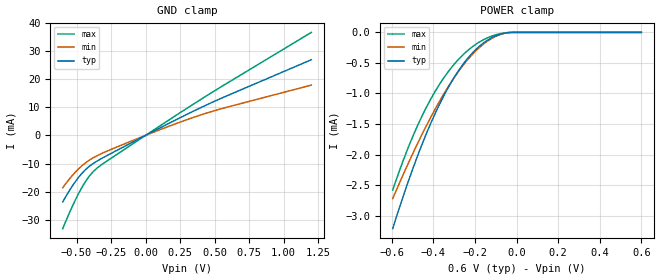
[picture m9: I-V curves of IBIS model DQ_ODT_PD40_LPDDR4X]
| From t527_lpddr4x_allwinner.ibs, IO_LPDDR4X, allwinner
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|   Model DQ_ODT_PD40_LPDDR4X
[Model] DQ_ODT_PD40_LPDDR4X
Model_type Input
Polarity   Non-Inverting
Enable   Active-High
Vinl =  0.300V
Vinh =  0.300V
C_comp   1.593pF   1.550pF   1.649pF
C_comp_power_clamp   56.576fF   56.568fF   56.600fF
C_comp_gnd_clamp   0.792pF   0.769pF   0.821pF
[Model Spec]
Vinh   0.300V   0.285V   0.325V
Vinl   0.300V   0.285V   0.325V
[Temperature Range]   25.000   0.125k   -40.000
[Voltage Range]   0.600V   0.570V   0.650V
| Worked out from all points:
|   GND clamp passes 1 mA (typ) near -0.04 V on its own axis
|   POWER clamp passes 1 mA (typ) near -0.34 V on its own axis
[GND_clamp]
|Voltage   I(typ)   I(min)   I(max)
-600mV    -23.68mA   -18.63mA   -33.16mA
-522mV    -17.41mA   -13.8mA    -24.38mA
-457mV    -13.3mA    -10.65mA   -18.18mA
-405mV    -10.92mA   -8.739mA   -14.36mA
-340mV    -8.816mA   -6.959mA   -11.21mA
76mV      1.931mA    1.47mA     2.464mA
401mV     9.883mA    7.279mA    12.81mA
570mV     13.66mA    9.763mA    17.95mA
1.2V      26.89mA    17.86mA    36.6mA
[POWER_clamp]
|Voltage   I(typ)   I(min)   I(max)
-596mV    -3.212mA   -2.72mA    -2.582mA
-544mV    -2.667mA   -2.316mA   -2.083mA
-492mV    -2.164mA   -1.93mA    -1.645mA
-440mV    -1.706mA   -1.567mA   -1.266mA
-375mV    -1.206mA   -1.153mA   -872.1uA
-323mV    -867.4uA   -858uA     -616.8uA
-271mV    -585.7uA   -599.9uA   -411.1uA
-219mV    -361.4uA   -383.3uA   -251.3uA
-167mV    -193.6uA   -212.3uA   -133.8uA
-102mV    -59.35uA   -67.67uA   -40.86uA
-37mV     -2.714uA   -3.203uA   -1.868uA
600mV     0A         0A         0A
